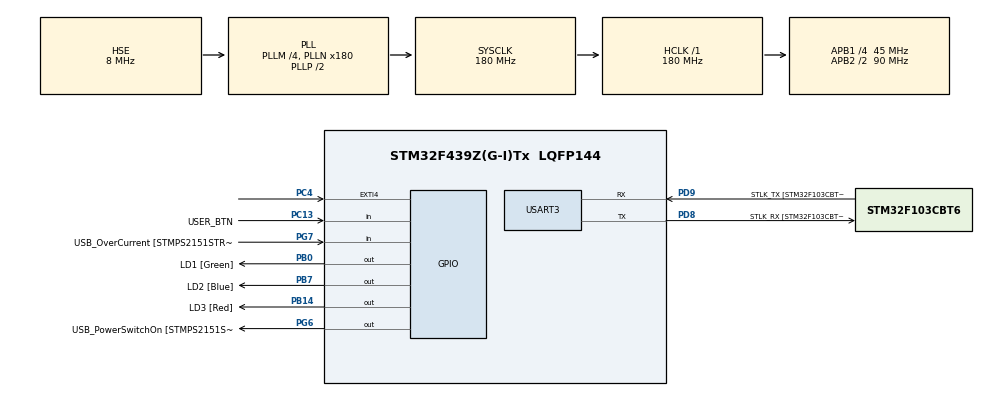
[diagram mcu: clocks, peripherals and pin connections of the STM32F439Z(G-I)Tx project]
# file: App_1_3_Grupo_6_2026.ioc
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Mcu.Family=STM32F4
Mcu.Name=STM32F439Z(G-I)Tx
Mcu.Package=LQFP144
NVIC.PriorityGroup=NVIC_PRIORITYGROUP_4
PA13.GPIO_Label=TMS
PA13.Mode=Serial_Wire
PA13.Signal=SYS_JTMS-SWDIO
PA14.GPIO_Label=TCK
PA14.Mode=Serial_Wire
PA14.Signal=SYS_JTCK-SWCLK
PB0.GPIO_Label=LD1 [Green]
PB0.Signal=GPIO_Output
PB14.GPIO_Label=LD3 [Red]
PB14.Signal=GPIO_Output
PB7.GPIO_Label=LD2 [Blue]
PB7.Signal=GPIO_Output
PC13.GPIO_Label=USER_BTN
PC13.Signal=GPIO_Input
PC14/OSC32_IN.Mode=LSE-External-Oscillator
PC14/OSC32_IN.Signal=RCC_OSC32_IN
PC15/OSC32_OUT.Mode=LSE-External-Oscillator
PC15/OSC32_OUT.Signal=RCC_OSC32_OUT
PC4.Signal=GPXTI4
PD8.GPIO_Label=STLK_RX [STM32F103CBT6_PA3]
PD8.Mode=Asynchronous
PD8.Signal=USART3_TX
PD9.GPIO_Label=STLK_TX [STM32F103CBT6_PA2]
PD9.Mode=Asynchronous
PD9.Signal=USART3_RX
PG6.GPIO_Label=USB_PowerSwitchOn [STMPS2151STR_EN]
PG6.Signal=GPIO_Output
PG7.GPIO_Label=USB_OverCurrent [STMPS2151STR_FAULT]
PG7.Signal=GPIO_Input
PH0/OSC_IN.GPIO_Label=MCO [STM32F103CBT6_PA8]
PH0/OSC_IN.Mode=HSE-External-Oscillator
PH0/OSC_IN.Signal=RCC_OSC_IN
PH1/OSC_OUT.Mode=HSE-External-Oscillator
PH1/OSC_OUT.Signal=RCC_OSC_OUT
ProjectManager.HeapSize=0x200
ProjectManager.StackSize=0x400
ProjectManager.TargetToolchain=STM32CubeIDE
RCC.48MHZClocksFreq_Value=51428571.428571425
RCC.AHBFreq_Value=180000000
RCC.APB1CLKDivider=RCC_HCLK_DIV4
RCC.APB1Freq_Value=45000000
RCC.APB1TimFreq_Value=90000000
RCC.APB2CLKDivider=RCC_HCLK_DIV2
RCC.APB2Freq_Value=90000000
RCC.APB2TimFreq_Value=180000000
RCC.CortexFreq_Value=180000000
RCC.HCLKFreq_Value=180000000
RCC.HSE_VALUE=8000000
RCC.HSI_VALUE=16000000
RCC.PLLM=4
RCC.PLLMUL=RCC_PLL_MUL9
RCC.PLLN=180
RCC.PLLQ=7
RCC.PLLSourceVirtual=RCC_PLLSOURCE_HSE
RCC.PRESCALERUSB=RCC_USBCLKSOURCE_PLL_DIV1_5
RCC.SYSCLKFreq_VALUE=180000000
RCC.SYSCLKSource=RCC_SYSCLKSOURCE_PLLCLK
RCC.SYSCLKSourceVirtual=RCC_SYSCLKSOURCE_PLLCLK
RCC.USBFreq_Value=48000000
RCC.VCOOutputFreq_Value=360000000
USART3.VirtualMode=VM_ASYNC
board=NUCLEO-F439ZI

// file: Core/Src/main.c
/* USER CODE BEGIN Header */
/**
 ******************************************************************************
 * @file           : main.c
 * @brief          : Main program body
 ******************************************************************************
 * @attention
 *
 * Copyright (c) 2026 STMicroelectronics.
 * All rights reserved.
 *
 * This software is licensed under terms that can be found in the LICENSE file
 * in the root directory of this software component.
 * If no LICENSE file comes with this software, it is provided AS-IS.
 *
 ******************************************************************************
 */
/* USER CODE END Header */
#include "main.h"

/* USER CODE BEGIN Includes */
#include "stdbool.h"
/* USER CODE END Includes */

/* USER CODE BEGIN PTD */

/** * @brief Estructura para el mapeo de hardware.
 * Permite desacoplar la lógica de control de los pines físicos.
 */
typedef struct{
	GPIO_TypeDef* port;  	// Puntero a la estructura de registros del puerto (GPIOA, GPIOB, etc.)
	uint16_t pin;       	// Máscara del pin (GPIO_PIN_0, etc.)
} GPIO_Config_t;

/** * @brief Definición de estados para la MEF.
 */
typedef enum{
	Secuencia_1 = 0,
	Secuencia_2,
	Secuencia_3,
	Secuencia_4
} Estado_t;

/**
 * @brief Definición de estados para la MEF de Secuencia 1.
 */
typedef enum{
	Estado_Encendido = 0,
	Estado_Apagado
} Estado_Sec1_t;

/* USER CODE END PTD */

UART_HandleTypeDef huart3;

/* USER CODE BEGIN PV */

/** * @brief Arreglo de configuración de hardware.
 * Se define como 'const' para residir en Flash y ahorrar RAM.
 */
const GPIO_Config_t leds_array [] = {
		{LD1_GPIO_Port, LD1_Pin},
		{LD2_GPIO_Port, LD2_Pin},
		{LD3_GPIO_Port, LD3_Pin}
};

const uint8_t cant_leds = sizeof (leds_array) / sizeof(leds_array[0]);	// Se calcula automaticamente la cantidad de elementos del array
const uint32_t alternancia_sec1 = 150;									// Valor constante para las transciciones de Encendido-Apagado
const uint32_t alternancia_sec2 = 300;
const uint32_t alternancia_LD1	= 100;
const uint32_t alternancia_LD2	= 300;
const uint32_t alternancia_LD3	= 600;
static int indice = 0;													// Variable que iterara el arreglo
static uint32_t contador_tiempo = 0;
static bool estado_parpadeo = false;
static Estado_t estado = Secuencia_1;									// Estado inicial de la MEF
static Estado_Sec1_t modo = Estado_Encendido;							// Estado inicial de la MEF de Secuencia 1
static bool btn_presionado = false;										// Bandera para la deteccion de flancos

/* USER CODE END PV */

void SystemClock_Config(void);
static void MX_GPIO_Init(void);
static void MX_USART3_UART_Init(void);

int main(void)
{

  /* MCU Configuration--------------------------------------------------------*/

  /* Reset of all peripherals, Initializes the Flash interface and the Systick. */
  HAL_Init();

  /* Configure the system clock */
  SystemClock_Config();

  /* Initialize all configured peripherals */
  MX_GPIO_Init();
  MX_USART3_UART_Init();

  /* Infinite loop */
	while (1)
	{

    /* USER CODE BEGIN 3 */

		/* 1. Detección de flanco (no bloqueante) */
		/**
		 * @brief Detector de flanco positivo para el pulsador de usuario.
		 * @details Implementa una lógica de captura de evento única por pulsación (edge).
		 * Al usar una bandera, se evita la repetición de la acción mientras el usuario
		 * mantiene el botón presionado, garantizando una respuesta determinista.
		 */
		if (HAL_GPIO_ReadPin(USER_BTN_GPIO_Port, USER_BTN_Pin) == GPIO_PIN_SET) {
			if (!btn_presionado) {
				// --- EL RESET DE SEGURIDAD ---
				// Apagamos todo físicamente apenas tocamos el botón
				for (uint8_t i = 0; i < cant_leds; i++) {
					HAL_GPIO_WritePin(leds_array[i].port, leds_array[i].pin, GPIO_PIN_RESET);
				}

				estado++;
				if(estado > Secuencia_4) estado = Secuencia_1;

				// Reiniciamos TODAS las variables de control
				indice = 0;
				modo = Estado_Encendido;
				contador_tiempo = 0;
				estado_parpadeo = false;

				btn_presionado = true;
			}
		} else {
			btn_presionado = false;
		}

		/* 2. Máquina de Estados (MEF) */
		/**
		 * @brief Máquina de Estados Finitos Principal para controlar las secuencias.
		 * @details Gestiona las secuencias principales de la MEF
		 */
		switch (estado) {
		case Secuencia_1:

			switch (modo) {
			//Estado en donde se enciende un determinado pin
			case Estado_Encendido:
				HAL_GPIO_WritePin(leds_array[indice].port, leds_array[indice].pin, GPIO_PIN_SET);
				HAL_Delay(alternancia_sec1);
				modo = Estado_Apagado;	// Trancision obligatoria al siguiente estado (apagado)
				break;
				// Estado en donde se apaga un determinado pin y retoma al estado anterior
			case Estado_Apagado:
				HAL_GPIO_WritePin(leds_array[indice].port, leds_array[indice].pin, GPIO_PIN_RESET);
				HAL_Delay(alternancia_sec1);
				modo = Estado_Encendido;	// Retorna al estado de Encendido
				indice++;					// Prepara al siguiente pin
				if(indice >= cant_leds) indice = 0;	// Reinicia el indice luegeo de recorrer todos los elementos del array leds_array
				break;
			default:
				// Manejo de estado inválido para evitar comportamiento errático
				for (uint8_t j = 0; j < cant_leds; j++) {
					HAL_GPIO_WritePin(leds_array[j].port, leds_array[j].pin, GPIO_PIN_RESET);
				}
				modo = Estado_Encendido;	// Se reinicia al estado inicial
				indice = 0;					// Reinicia al primer elemento del array leds_array
				break;
			}

		break;

		case Secuencia_2:
				for (uint8_t j = 0; j < cant_leds; j++) {
					HAL_GPIO_WritePin(leds_array[j].port, leds_array[j].pin, GPIO_PIN_SET);
				}
				HAL_Delay(alternancia_sec2);
				for (uint8_t j = 0; j < cant_leds; j++) {
					HAL_GPIO_WritePin(leds_array[j].port, leds_array[j].pin, GPIO_PIN_RESET);
				}
				HAL_Delay(alternancia_sec2);
		break;

		case Secuencia_3:
			/* Parpadeo asincrónico: Base bloqueante controlada de 100ms */
			            HAL_Delay(100);
			            contador_tiempo++;
					// Ahora contador_tiempo es el que usamos para los LEDs
					if (contador_tiempo % 1 == 0) HAL_GPIO_TogglePin(leds_array[0].port, leds_array[0].pin); // 100ms
					if (contador_tiempo % 3 == 0) HAL_GPIO_TogglePin(leds_array[1].port, leds_array[1].pin); // 300ms
					if (contador_tiempo % 6 == 0) HAL_GPIO_TogglePin(leds_array[2].port, leds_array[2].pin); // 600ms
		break;

		case Secuencia_4:

						estado_parpadeo = !estado_parpadeo;

						HAL_GPIO_WritePin(leds_array[0].port, leds_array[0].pin, estado_parpadeo ? GPIO_PIN_SET : GPIO_PIN_RESET);
						HAL_GPIO_WritePin(leds_array[2].port, leds_array[2].pin, estado_parpadeo ? GPIO_PIN_SET : GPIO_PIN_RESET);
						HAL_GPIO_WritePin(leds_array[1].port, leds_array[1].pin, estado_parpadeo ? GPIO_PIN_RESET : GPIO_PIN_SET);

						HAL_Delay(300);
		break;

		default:

					// 1. APAGADO INMEDIATO
				    for (uint8_t j = 0; j < cant_leds; j++) {
				        HAL_GPIO_WritePin(leds_array[j].port, leds_array[j].pin, GPIO_PIN_RESET);
				    }

				    // 2. REINICIO DE TODAS LAS VARIABLES DE ESTADO
				    estado = Secuencia_1;
				    modo = Estado_Encendido;
				    indice = 0;

				    // 3. REINICIO DE LAS VARIABLES TEMPORALES
				    contador_tiempo = 0;
				    estado_parpadeo = false;
		break;
		}
	}
  /* USER CODE END 3 */
}

void SystemClock_Config(void)
{
  RCC_OscInitTypeDef RCC_OscInitStruct = {0};
  RCC_ClkInitTypeDef RCC_ClkInitStruct = {0};

  /** Configure the main internal regulator output voltage
  */
  __HAL_RCC_PWR_CLK_ENABLE();
  __HAL_PWR_VOLTAGESCALING_CONFIG(PWR_REGULATOR_VOLTAGE_SCALE1);

  /** Initializes the RCC Oscillators according to the specified parameters
  * in the RCC_OscInitTypeDef structure.
  */
  RCC_OscInitStruct.OscillatorType = RCC_OSCILLATORTYPE_HSE;
  RCC_OscInitStruct.HSEState = RCC_HSE_ON;
  RCC_OscInitStruct.PLL.PLLState = RCC_PLL_ON;
  RCC_OscInitStruct.PLL.PLLSource = RCC_PLLSOURCE_HSE;
  RCC_OscInitStruct.PLL.PLLM = 4;
  RCC_OscInitStruct.PLL.PLLN = 180;
  RCC_OscInitStruct.PLL.PLLP = RCC_PLLP_DIV2;
  RCC_OscInitStruct.PLL.PLLQ = 7;
  if (HAL_RCC_OscConfig(&RCC_OscInitStruct) != HAL_OK)
  {
    Error_Handler();
  }

  /** Activate the Over-Drive mode
  */
  if (HAL_PWREx_EnableOverDrive() != HAL_OK)
  {
    Error_Handler();
  }

  /** Initializes the CPU, AHB and APB buses clocks
  */
  RCC_ClkInitStruct.ClockType = RCC_CLOCKTYPE_HCLK|RCC_CLOCKTYPE_SYSCLK
                              |RCC_CLOCKTYPE_PCLK1|RCC_CLOCKTYPE_PCLK2;
  RCC_ClkInitStruct.SYSCLKSource = RCC_SYSCLKSOURCE_PLLCLK;
  RCC_ClkInitStruct.AHBCLKDivider = RCC_SYSCLK_DIV1;
  RCC_ClkInitStruct.APB1CLKDivider = RCC_HCLK_DIV4;
  RCC_ClkInitStruct.APB2CLKDivider = RCC_HCLK_DIV2;

  if (HAL_RCC_ClockConfig(&RCC_ClkInitStruct, FLASH_LATENCY_5) != HAL_OK)
  {
    Error_Handler();
  }
}

static void MX_USART3_UART_Init(void)
{

  huart3.Instance = USART3;
  huart3.Init.BaudRate = 115200;
  huart3.Init.WordLength = UART_WORDLENGTH_8B;
  huart3.Init.StopBits = UART_STOPBITS_1;
  huart3.Init.Parity = UART_PARITY_NONE;
  huart3.Init.Mode = UART_MODE_TX_RX;
  huart3.Init.HwFlowCtl = UART_HWCONTROL_NONE;
  huart3.Init.OverSampling = UART_OVERSAMPLING_16;
  if (HAL_UART_Init(&huart3) != HAL_OK)
  {
    Error_Handler();
  }

}

static void MX_GPIO_Init(void)
{
  GPIO_InitTypeDef GPIO_InitStruct = {0};

  /* GPIO Ports Clock Enable */
  __HAL_RCC_GPIOC_CLK_ENABLE();
  __HAL_RCC_GPIOH_CLK_ENABLE();
  __HAL_RCC_GPIOB_CLK_ENABLE();
  __HAL_RCC_GPIOD_CLK_ENABLE();
  __HAL_RCC_GPIOG_CLK_ENABLE();
  __HAL_RCC_GPIOA_CLK_ENABLE();

  /*Configure GPIO pin Output Level */
  HAL_GPIO_WritePin(GPIOB, LD1_Pin|LD3_Pin|LD2_Pin, GPIO_PIN_RESET);

  /*Configure GPIO pin Output Level */
  HAL_GPIO_WritePin(USB_PowerSwitchOn_GPIO_Port, USB_PowerSwitchOn_Pin, GPIO_PIN_RESET);

  /*Configure GPIO pin : USER_BTN_Pin */
  GPIO_InitStruct.Pin = USER_BTN_Pin;
  GPIO_InitStruct.Mode = GPIO_MODE_INPUT;
  GPIO_InitStruct.Pull = GPIO_NOPULL;
  HAL_GPIO_Init(USER_BTN_GPIO_Port, &GPIO_InitStruct);

  /*Configure GPIO pin : PC4 */
  GPIO_InitStruct.Pin = GPIO_PIN_4;
  GPIO_InitStruct.Mode = GPIO_MODE_IT_RISING;
  GPIO_InitStruct.Pull = GPIO_NOPULL;
  HAL_GPIO_Init(GPIOC, &GPIO_InitStruct);

  /*Configure GPIO pins : LD1_Pin LD3_Pin LD2_Pin */
  GPIO_InitStruct.Pin = LD1_Pin|LD3_Pin|LD2_Pin;
  GPIO_InitStruct.Mode = GPIO_MODE_OUTPUT_PP;
  GPIO_InitStruct.Pull = GPIO_NOPULL;
  GPIO_InitStruct.Speed = GPIO_SPEED_FREQ_LOW;
  HAL_GPIO_Init(GPIOB, &GPIO_InitStruct);

  /*Configure GPIO pin : USB_PowerSwitchOn_Pin */
  GPIO_InitStruct.Pin = USB_PowerSwitchOn_Pin;
  GPIO_InitStruct.Mode = GPIO_MODE_OUTPUT_PP;
  GPIO_InitStruct.Pull = GPIO_NOPULL;
  GPIO_InitStruct.Speed = GPIO_SPEED_FREQ_LOW;
  HAL_GPIO_Init(USB_PowerSwitchOn_GPIO_Port, &GPIO_InitStruct);

  /*Configure GPIO pin : USB_OverCurrent_Pin */
  GPIO_InitStruct.Pin = USB_OverCurrent_Pin;
  GPIO_InitStruct.Mode = GPIO_MODE_INPUT;
  GPIO_InitStruct.Pull = GPIO_NOPULL;
  HAL_GPIO_Init(USB_OverCurrent_GPIO_Port, &GPIO_InitStruct);

}

void Error_Handler(void)
{
	__disable_irq();
	while (1)
	{
	}
}
